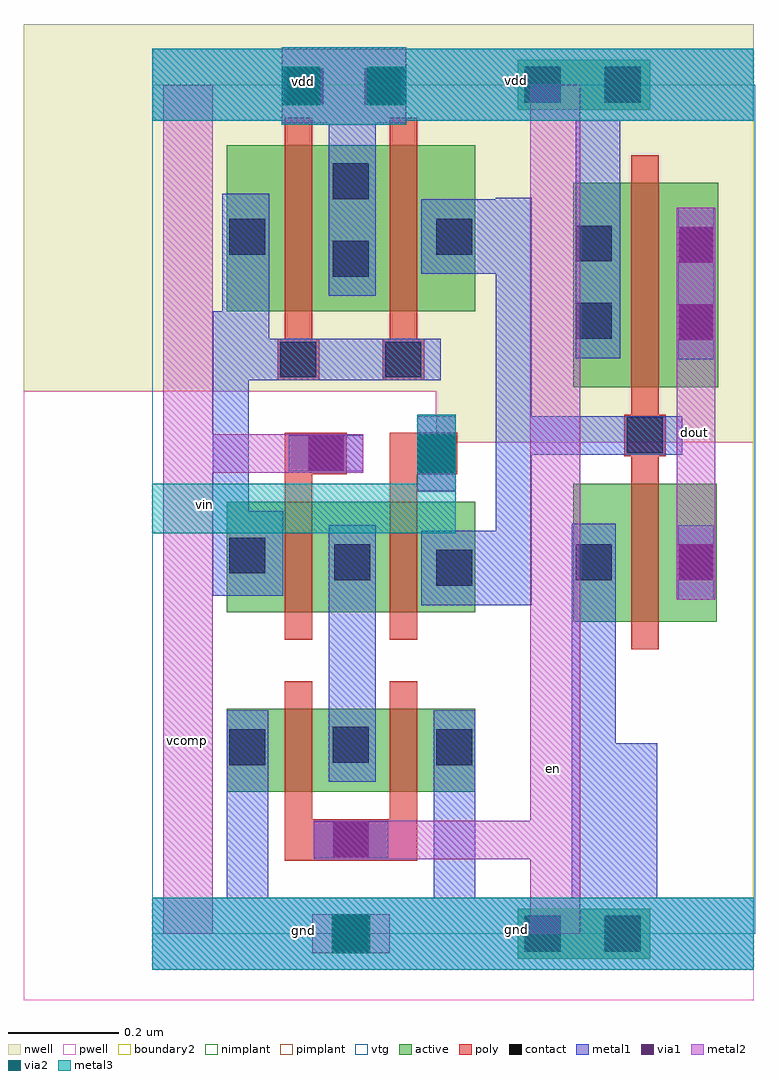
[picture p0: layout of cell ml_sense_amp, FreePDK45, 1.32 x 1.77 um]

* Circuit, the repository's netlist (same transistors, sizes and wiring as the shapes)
************************************************************************
* auCdl Netlist:
* 
* Library Name:  openram
* Top Cell Name: ml_sense_amp
* View Name:     schematic
* Netlisted on:  Jul 18 21:36:34 2021
************************************************************************

*.EQUATION
*.SCALE METER
*.MEGA
.PARAM



************************************************************************
* Library Name: openram
* Cell Name:    ml_sense_amp
* View Name:    schematic
************************************************************************

.SUBCKT ml_sense_amp dout en gnd vcomp vdd vin
MM12 dout dout_bar gnd gnd NMOS_VTG W=250.0n L=50n m=1
MM10 net34 vcomp net33 gnd NMOS_VTG W=200n L=50n m=1
MM8 dout_bar vin net33 gnd NMOS_VTG W=200n L=50n m=1
MM9 net33 en gnd gnd NMOS_VTG W=150.0n L=50n m=2
MM7 net34 net34 vdd vdd PMOS_VTG W=300n L=50n m=1
MM6 dout_bar net34 vdd vdd PMOS_VTG W=300n L=50n m=1
MM11 dout dout_bar vdd vdd PMOS_VTG W=370.0n L=50n m=1
.ENDS

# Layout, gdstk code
from math import pi, radians
import gdstk
lib = gdstk.Library(unit=1e-6, precision=5e-10)
def R(c, l, rs):  # rectangles x0, y0, x1, y1
    for r in rs: c.add(gdstk.rectangle(r[:2], r[2:], *l))
active = (1, 0)
pwell = (2, 0)
nwell = (3, 0)
nimplant = (4, 0)
pimplant = (5, 0)
vtg = (6, 0)
poly = (9, 0)
contact = (10, 0)
metal1 = (11, 0)
via1 = (12, 0)
metal2 = (13, 0)
via2 = (14, 0)
metal3 = (15, 0)
boundary2 = (239, 0)

m2_m1_cdns_627369275100 = lib.new_cell('M2_M1_CDNS_627369275100')
R(m2_m1_cdns_627369275100, metal1, [(-0.0325,-0.0675,0.0325,0.0675)])
R(m2_m1_cdns_627369275100, via1, [(-0.0325,-0.0325,0.0325,0.0325)])
R(m2_m1_cdns_627369275100, metal2, [(-0.035,-0.0675,0.035,0.0675)])

m3_m2_cdns_627369275101 = lib.new_cell('M3_M2_CDNS_627369275101')
R(m3_m2_cdns_627369275101, metal2, [(-0.035,-0.07,0.035,0.07)])
R(m3_m2_cdns_627369275101, via2, [(-0.035,-0.035,0.035,0.035)])
R(m3_m2_cdns_627369275101, metal3, [(-0.035,-0.07,0.035,0.07)])

m2_m1_cdns_627369275102 = lib.new_cell('M2_M1_CDNS_627369275102')
R(m2_m1_cdns_627369275102, metal1, [(-0.035,-0.0675,0.035,0.0675)])
R(m2_m1_cdns_627369275102, via1, [(-0.0325,-0.0325,0.0325,0.0325)])
R(m2_m1_cdns_627369275102, metal2, [(-0.035,-0.07,0.035,0.07)])

m3_m2_cdns_627369275103 = lib.new_cell('M3_M2_CDNS_627369275103')
R(m3_m2_cdns_627369275103, metal2, [(-0.1125,-0.07,0.1125,0.07)])
R(m3_m2_cdns_627369275103, via2, [(-0.1125,-0.035,-0.0425,0.035), (0.0425,-0.035,0.1125,0.035)])
R(m3_m2_cdns_627369275103, metal3, [(-0.1125,-0.07,0.1125,0.07)])

m2_m1_cdns_627369275104 = lib.new_cell('M2_M1_CDNS_627369275104')
R(m2_m1_cdns_627369275104, metal1, [(-0.1125,-0.0675,0.1125,0.0675)])
R(m2_m1_cdns_627369275104, via1, [(-0.1025,-0.0325,-0.0375,0.0325), (0.0375,-0.0325,0.1025,0.0325)])
R(m2_m1_cdns_627369275104, metal2, [(-0.1125,-0.07,0.1125,0.07)])

m2_m1_cdns_627369275105 = lib.new_cell('M2_M1_CDNS_627369275105')
R(m2_m1_cdns_627369275105, metal1, [(-0.0325,-0.1375,0.0325,0.1375)])
R(m2_m1_cdns_627369275105, via1, [(-0.0325,-0.1025,0.0325,-0.0375), (-0.0325,0.0375,0.0325,0.1025)])
R(m2_m1_cdns_627369275105, metal2, [(-0.035,-0.1375,0.035,0.1375)])

ml_sense_amp = lib.new_cell('ml_sense_amp')
R(ml_sense_amp, active, [(0.6625,-0.045,0.9025,0.045), (0.135,0.2575,0.585,0.4075), (0.7625,0.565,1.0225,0.815), (0.135,0.5825,0.585,0.7825), (0.7625,0.99,1.025,1.36), (0.135,1.1275,0.585,1.4275), (0.6625,1.4925,0.9025,1.5825)])
R(ml_sense_amp, pwell, [(-0.2325,-0.12,1.09,0.89), (-0.2325,0.89,0.515,0.9825)])
R(ml_sense_amp, nwell, [(0.515,0.89,1.09,0.9825), (-0.2325,0.9825,1.09,1.6475)])
R(ml_sense_amp, nimplant, [(0.135,0.2575,0.585,0.4075), (0.7625,0.565,1.0225,0.815), (0.135,0.5825,0.585,0.7825), (0.6625,1.4925,0.9025,1.5825)])
R(ml_sense_amp, pimplant, [(0.6625,-0.045,0.9025,0.045), (0.7625,0.99,1.025,1.36), (0.135,1.1275,0.585,1.4275)])
R(ml_sense_amp, vtg, [(0,0,1.0925,1.5375)])
R(ml_sense_amp, poly, [(0.24,0.1325,0.29,0.4575), (0.24,0.1325,0.48,0.2075), (0.43,0.1325,0.48,0.4575), (0.8675,0.515,0.9175,1.41), (0.24,0.5325,0.29,0.9075), (0.43,0.5325,0.48,0.9075), (0.2775,0.8325,0.3525,0.9075), (0.43,0.8325,0.4975,0.9075), (0.4775,0.8325,0.5525,0.9075), (0.855,0.865,0.93,0.94), (0.2275,1.0025,0.3025,1.0775), (0.24,1.0025,0.29,1.4775), (0.4175,1.0025,0.4925,1.0775), (0.43,1.0025,0.48,1.4775)])
R(ml_sense_amp, contact, [(0.675,-0.0325,0.74,0.0325), (0.82,-0.0325,0.885,0.0325), (0.3275,0.1375,0.3925,0.2025), (0.14,0.305,0.205,0.37), (0.515,0.305,0.58,0.37), (0.3275,0.31,0.3925,0.375), (0.515,0.63,0.58,0.695), (0.33,0.64,0.395,0.705), (0.7675,0.64,0.8325,0.705), (0.9525,0.64,1.0175,0.705), (0.14,0.6525,0.205,0.7175), (0.2825,0.8375,0.3475,0.9025), (0.4825,0.8375,0.5475,0.9025), (0.86,0.87,0.925,0.935), (0.2325,1.0075,0.2975,1.0725), (0.4225,1.0075,0.4875,1.0725), (0.9525,1.075,1.0175,1.14), (0.7675,1.0775,0.8325,1.1425), (0.3275,1.19,0.3925,1.255), (0.9525,1.215,1.0175,1.28), (0.7675,1.2175,0.8325,1.2825), (0.14,1.23,0.205,1.295), (0.515,1.23,0.58,1.295), (0.3275,1.33,0.3925,1.395), (0.675,1.505,0.74,1.57), (0.82,1.505,0.885,1.57)])
R(ml_sense_amp, metal1, [(0,-0.065,1.09,0.065), (0.76,-0.015,0.84,0.7425), (0.7675,-0.015,0.915,0.345), (0.135,-0.0125,0.21,0.405), (0.51,-0.0125,0.585,0.405), (0.32,0.275,0.405,0.74), (0.4875,0.595,0.6875,0.73), (0.11,0.6125,0.175,1.1275), (0.165,0.6125,0.2375,0.765), (0.6225,0.6525,0.6875,1.3325), (0.2475,0.8375,0.3825,0.9025), (0.65,0.8675,0.96,0.9375), (0.1275,1.0025,0.2125,1.34), (0.1975,1.0025,0.5225,1.0775), (0.7675,1.0425,0.8475,1.51), (0.32,1.155,0.405,1.5025), (0.4875,1.195,0.6875,1.33), (0,1.4725,1.09,1.6025)])
R(ml_sense_amp, metal2, [(0.02,0,0.11,1.5375), (0.685,0,0.775,1.5375), (0.355,0.135,0.7425,0.205), (0.95,0.6575,1.02,1.1525), (0.08,0.835,0.3825,0.905)])
R(ml_sense_amp, metal3, [(0,-0.065,1.09,0.065), (0,0.725,0.55,0.815), (0,1.4725,1.09,1.6025)])
R(ml_sense_amp, boundary2, [(0,0,1.09,1.5375)])
ml_sense_amp.add(gdstk.Reference(m2_m1_cdns_627369275100, (0.985,0.6725)))
ml_sense_amp.add(gdstk.Reference(m2_m1_cdns_627369275100, (0.36,0.17), rotation=pi/2))
ml_sense_amp.add(gdstk.Reference(m2_m1_cdns_627369275100, (0.315,0.87), rotation=pi/2))
ml_sense_amp.add(gdstk.Reference(m3_m2_cdns_627369275101, (0.515,0.87)))
ml_sense_amp.add(gdstk.Reference(m3_m2_cdns_627369275101, (0.36,0), rotation=pi/2))
ml_sense_amp.add(gdstk.Reference(m2_m1_cdns_627369275102, (0.515,0.87)))
ml_sense_amp.add(gdstk.Reference(m2_m1_cdns_627369275102, (0.36,0), rotation=pi/2))
ml_sense_amp.add(gdstk.Reference(m3_m2_cdns_627369275103, (0.3475,1.535)))
ml_sense_amp.add(gdstk.Reference(m2_m1_cdns_627369275104, (0.3475,1.535)))
ml_sense_amp.add(gdstk.Reference(m2_m1_cdns_627369275105, (0.985,1.1775)))
ml_sense_amp.add(gdstk.Label('gnd', (0.275,0.005), layer=11, texttype=0))
ml_sense_amp.add(gdstk.Label('vdd', (0.275,1.5425), layer=11, texttype=0))
ml_sense_amp.add(gdstk.Label('gnd', (0.66,0.0075), layer=15, texttype=0))
ml_sense_amp.add(gdstk.Label('vdd', (0.66,1.545), layer=15, texttype=0))
ml_sense_amp.add(gdstk.Label('vin', (0.095,0.7775), layer=15, texttype=0))
ml_sense_amp.add(gdstk.Label('en', (0.7275,0.3), layer=13, texttype=0))
ml_sense_amp.add(gdstk.Label('vcomp', (0.065,0.35), layer=13, texttype=0))
ml_sense_amp.add(gdstk.Label('dout', (0.9825,0.9075), layer=13, texttype=0))

lib.write_gds('ml_sense_amp.gds')
